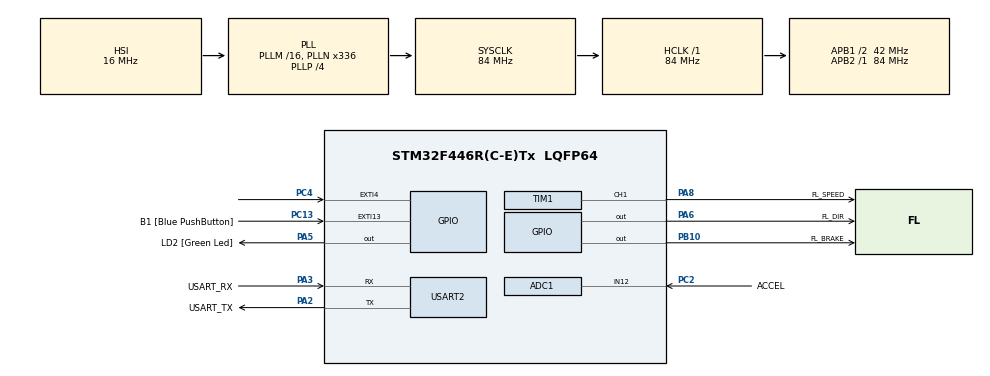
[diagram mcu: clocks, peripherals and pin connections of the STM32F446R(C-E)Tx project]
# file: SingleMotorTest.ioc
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ADC1.Channel-0\#ChannelRegularConversion=ADC_CHANNEL_12
ADC1.DiscontinuousConvMode=ENABLE
ADC1.NbrOfConversionFlag=1
ADC1.Rank-0\#ChannelRegularConversion=1
ADC1.SamplingTime-0\#ChannelRegularConversion=ADC_SAMPLETIME_480CYCLES
ADC1.ScanConvMode=ENABLE
ADC1.master=1
Mcu.Family=STM32F4
Mcu.Name=STM32F446R(C-E)Tx
Mcu.Package=LQFP64
NVIC.EXTI4_IRQn=true\:0\:0\:false\:false\:true\:true\:true\:true
NVIC.PriorityGroup=NVIC_PRIORITYGROUP_0
PA13.GPIO_Label=TMS
PA13.Mode=Serial_Wire
PA13.Signal=SYS_JTMS-SWDIO
PA14.GPIO_Label=TCK
PA14.Mode=Serial_Wire
PA14.Signal=SYS_JTCK-SWCLK
PA2.GPIO_Label=USART_TX
PA2.Mode=Asynchronous
PA2.Signal=USART2_TX
PA3.GPIO_Label=USART_RX
PA3.Mode=Asynchronous
PA3.Signal=USART2_RX
PA5.GPIO_Label=LD2 [Green Led]
PA5.Signal=GPIO_Output
PA6.GPIO_Label=FL_DIR
PA6.Signal=GPIO_Output
PA8.GPIO_Label=FL_SPEED
PA8.Signal=S_TIM1_CH1
PB10.GPIO_Label=FL_BRAKE
PB10.Signal=GPIO_Output
PB3.GPIO_Label=SWO
PB3.Signal=SYS_JTDO-SWO
PC13.GPIO_Label=B1 [Blue PushButton]
PC13.GPIO_ModeDefaultEXTI=GPIO_MODE_IT_FALLING
PC13.Signal=GPXTI13
PC14-OSC32_IN.Mode=LSE-External-Oscillator
PC14-OSC32_IN.Signal=RCC_OSC32_IN
PC15-OSC32_OUT.Mode=LSE-External-Oscillator
PC15-OSC32_OUT.Signal=RCC_OSC32_OUT
PC2.GPIO_Label=ACCEL
PC2.Signal=ADCx_IN12
PC4.GPIO_ModeDefaultEXTI=GPIO_MODE_IT_RISING_FALLING
PC4.Signal=GPXTI4
PH0-OSC_IN.Mode=HSE-External-Oscillator
PH0-OSC_IN.Signal=RCC_OSC_IN
PH1-OSC_OUT.Mode=HSE-External-Oscillator
PH1-OSC_OUT.Signal=RCC_OSC_OUT
ProjectManager.HeapSize=0x200
ProjectManager.StackSize=0x400
ProjectManager.TargetToolchain=STM32CubeIDE
RCC.48MHZClocksFreq_Value=84000000
RCC.AHBFreq_Value=84000000
RCC.APB1CLKDivider=RCC_HCLK_DIV2
RCC.APB1Freq_Value=42000000
RCC.APB1TimFreq_Value=84000000
RCC.APB2Freq_Value=84000000
RCC.APB2TimFreq_Value=84000000
RCC.CortexFreq_Value=84000000
RCC.FLatency-AdvancedSettings=FLASH_LATENCY_2
RCC.HCLKFreq_Value=84000000
RCC.HSE_VALUE=8000000
RCC.HSI_VALUE=16000000
RCC.PLLN=336
RCC.PLLP=RCC_PLLP_DIV4
RCC.SYSCLKFreq_VALUE=84000000
RCC.SYSCLKSource=RCC_SYSCLKSOURCE_PLLCLK
RCC.USBFreq_Value=168000000
RCC.VCOOutputFreq_Value=336000000
SH.ADCx_IN12.0=ADC1_IN12,IN12
SH.S_TIM1_CH1.0=TIM1_CH1,PWM Generation1 CH1
TIM1.Channel-PWM\ Generation1\ CH1=TIM_CHANNEL_1
TIM1.Period=800-1
TIM1.Prescaler=4-1
TIM1.Pulse-PWM\ Generation1\ CH1=499
TIM10.Prescaler=84
USART2.VirtualMode=VM_ASYNC
VP_TIM10_VS_ClockSourceINT.Mode=Enable_Timer
VP_TIM1_VS_ClockSourceINT.Mode=Internal
board=NUCLEO-F446RE

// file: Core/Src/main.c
/* USER CODE BEGIN Header */
/**
  ******************************************************************************
  * @file           : main.c
  * @brief          : Main program body
  ******************************************************************************
  * @attention
  *
  * Copyright (c) 2023 STMicroelectronics.
  * All rights reserved.
  *
  * This software is licensed under terms that can be found in the LICENSE file
  * in the root directory of this software component.
  * If no LICENSE file comes with this software, it is provided AS-IS.
  *
  ******************************************************************************
  */
/* USER CODE END Header */
#include "main.h"
#include "adc.h"
#include "tim.h"
#include "usart.h"
#include "gpio.h"

/* USER CODE BEGIN Includes */

#include "MY36GP_3650.h"
#include <stdbool.h>

/* USER CODE END Includes */

/* USER CODE BEGIN PD */
#define FIRST_INDEX		0
#define SECOND_INDEX	1

/* USER CODE END PD */

void SystemClock_Config(void);

/* USER CODE BEGIN 0 */

//uint32_t u32_FL_captured_val_us;
//
///*
// * 모터 pulse의 주파수를 측정
// * rising, falling edge에서 주파수값 갱신
// * TIM3에서 prescaler (84-1)로 설정함
// */
//void HAL_TIM_IC_CaptureCallback(TIM_HandleTypeDef *htim)
//{
//
//	if (htim->Channel == HAL_TIM_ACTIVE_CHANNEL_1)  // if FL pulse edge detected
//	{
//		u32_FL_captured_val_us = HAL_TIM_ReadCapturedValue(htim, TIM_CHANNEL_1);
//
//	}
//
//}

uint32_t u32_FL_period_us;

//void HAL_GPIO_EXTI_Callback(uint16_t GPIO_Pin)
//{
//	static uint32_t u32_FL_tick_us[2];
//
//	if(GPIO_Pin == GPIO_PIN_4)
//	{
//		HAL_GPIO_TogglePin(GPIOA, GPIO_PIN_5);		// for test
//
//		u32_FL_tick_us[0] = u32_FL_tick_us[1];
//		u32_FL_tick_us[1] = TIM10->CNT;
//
//		u32_FL_period_us = u32_FL_tick_us[1] - u32_FL_tick_us[0];
//	}
//}

uint32_t capture[2];
bool saved_index = FIRST_INDEX;
void HAL_GPIO_EXTI_Callback(uint16_t GPIO_Pin)
{

	if(GPIO_Pin == GPIO_PIN_4)
	{

		HAL_GPIO_TogglePin(GPIOA, GPIO_PIN_5);		// for test

		if (saved_index)
		{
			capture[0] = TIM10->CNT;
			saved_index = FIRST_INDEX;
		}
		else
		{
			capture[1] = TIM10->CNT;
			saved_index = SECOND_INDEX;
		}
	}
}

float GetRPM()
{
	uint32_t period_us;
	if(saved_index)
	{
		period_us = (capture[1] - capture[0]) * 2;
	}
	else
	{
		period_us = (capture[0] - capture[1]) * 2;

	}

	return (60*1000000) / (float)(period_us * MOTOR_PPR * GEAR_RATIO);
}

/* USER CODE END 0 */

int main(void)
{
  /* USER CODE BEGIN 1 */

	uint32_t u32_adc_value;
    uint32_t u32_ccr_value;
    float f_voltage;
    float f_FL_period_us;

    float f_rpm, f_filt_rpm;
    float f_input_rpm;
  /* USER CODE END 1 */

  /* MCU Configuration--------------------------------------------------------*/

  /* Reset of all peripherals, Initializes the Flash interface and the Systick. */
  HAL_Init();

  /* Configure the system clock */
  SystemClock_Config();

  /* Initialize all configured peripherals */
  MX_GPIO_Init();
  MX_USART2_UART_Init();
  MX_ADC1_Init();
  MX_TIM1_Init();
  MX_TIM10_Init();
  /* USER CODE BEGIN 2 */

  	  HAL_TIM_PWM_Start(&htim1, TIM_CHANNEL_1);
  	  HAL_TIM_Base_Start_IT(&htim10);
//  	  HAL_TIM_IC_Start_IT(&htim3, TIM_CHANNEL_1);

  /* USER CODE END 2 */

  /* Infinite loop */
  while (1)
  {

    /* USER CODE BEGIN 3 */

      HAL_ADC_Start(&hadc1);
      HAL_ADC_PollForConversion(&hadc1, 100);   // adc값 읽힐 때까지 최대 100ms 대기
      u32_adc_value = HAL_ADC_GetValue(&hadc1);
      HAL_ADC_Stop(&hadc1);

      f_voltage = float_map((float)u32_adc_value, 0.0, 4095.0, 0.0, 3.3);

      f_input_rpm = float_map(((float)u32_adc_value < 200)?200:u32_adc_value, 200, 4095.0, 0.0, 450);

//      motorVelocityCheck(u32_adc_value, CCW);
      FL_RunMotor(f_input_rpm, CW);

//      f_FL_period_us = (float)u32_FL_period_us;
//      f_rpm =  Period2RPM(f_FL_period_us * 2);
      f_rpm = GetRPM();
      if (f_rpm < 600);
      	  f_filt_rpm = f_MovingAverage(f_rpm);

      printf("adc value : %d\tvoltage : %f\tin_rpm : %f\t", u32_adc_value, f_voltage, f_input_rpm);
//      printf("motor pulse : %f us\r\n", f_FL_period_us);
      printf("rpm : %f\r\n", f_filt_rpm);
  }
  /* USER CODE END 3 */
}

void SystemClock_Config(void)
{
  RCC_OscInitTypeDef RCC_OscInitStruct = {0};
  RCC_ClkInitTypeDef RCC_ClkInitStruct = {0};

  /** Configure the main internal regulator output voltage
  */
  __HAL_RCC_PWR_CLK_ENABLE();
  __HAL_PWR_VOLTAGESCALING_CONFIG(PWR_REGULATOR_VOLTAGE_SCALE3);

  /** Initializes the RCC Oscillators according to the specified parameters
  * in the RCC_OscInitTypeDef structure.
  */
  RCC_OscInitStruct.OscillatorType = RCC_OSCILLATORTYPE_HSI;
  RCC_OscInitStruct.HSIState = RCC_HSI_ON;
  RCC_OscInitStruct.HSICalibrationValue = RCC_HSICALIBRATION_DEFAULT;
  RCC_OscInitStruct.PLL.PLLState = RCC_PLL_ON;
  RCC_OscInitStruct.PLL.PLLSource = RCC_PLLSOURCE_HSI;
  RCC_OscInitStruct.PLL.PLLM = 16;
  RCC_OscInitStruct.PLL.PLLN = 336;
  RCC_OscInitStruct.PLL.PLLP = RCC_PLLP_DIV4;
  RCC_OscInitStruct.PLL.PLLQ = 2;
  RCC_OscInitStruct.PLL.PLLR = 2;
  if (HAL_RCC_OscConfig(&RCC_OscInitStruct) != HAL_OK)
  {
    Error_Handler();
  }

  /** Initializes the CPU, AHB and APB buses clocks
  */
  RCC_ClkInitStruct.ClockType = RCC_CLOCKTYPE_HCLK|RCC_CLOCKTYPE_SYSCLK
                              |RCC_CLOCKTYPE_PCLK1|RCC_CLOCKTYPE_PCLK2;
  RCC_ClkInitStruct.SYSCLKSource = RCC_SYSCLKSOURCE_PLLCLK;
  RCC_ClkInitStruct.AHBCLKDivider = RCC_SYSCLK_DIV1;
  RCC_ClkInitStruct.APB1CLKDivider = RCC_HCLK_DIV2;
  RCC_ClkInitStruct.APB2CLKDivider = RCC_HCLK_DIV1;

  if (HAL_RCC_ClockConfig(&RCC_ClkInitStruct, FLASH_LATENCY_2) != HAL_OK)
  {
    Error_Handler();
  }
}

void Error_Handler(void)
{
  __disable_irq();
  while (1)
  {
  }
}
